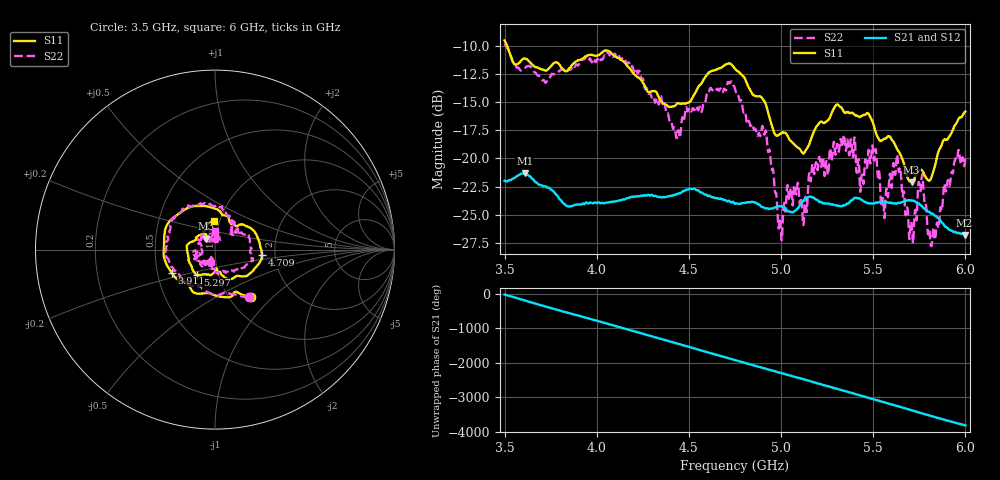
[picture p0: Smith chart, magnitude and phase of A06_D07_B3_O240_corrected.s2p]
! Created with skrf 1.9.0 (http://scikit-rf.org).
# Hz S RI R 50.0
!freq ReS11 ImS11 ReS21 ImS21 ReS12 ImS12 ReS22 ImS22
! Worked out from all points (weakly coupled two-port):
!   1601 points, 3.5 GHz to 6 GHz, reference 50 ohm
!   highest |S21| = -21.30 dB at 3.609 GHz (marker M1); lowest = -26.8 dB at 5.995 GHz (marker M2)
!   lowest |S11| = -22.1 dB at 5.708 GHz (marker M3), VSWR 1.17, Z = 44.9 + j5.49 ohm
!   |S11| at or under -10 dB: 3.513 GHz to end of sweep
!   |S22| runs from -27.8 to -9.8 dB; largest |S21 - S12| = 0.0011
!   S11 on the Smith chart (normalised r, x): 3.5 GHz: 1.26, -0.75; 3.911 GHz: 0.60, -0.17; 4.709 GHz: 1.70, -0.12; 5.297 GHz: 0.79, -0.23; 6 GHz: 0.94, +0.31
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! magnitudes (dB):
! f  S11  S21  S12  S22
! 3.5 GHz  -9.6  -22.0  -22.0  -9.8
! 3.609 GHz  -11.1  -21.3  -21.3  -12.0
! 3.911 GHz  -11.3  -24.1  -24.1  -11.6
! 3.917 GHz  -11.2  -24.1  -24.0  -11.4
! 4.334 GHz  -14.5  -23.4  -23.4  -15.1
! 4.442 GHz  -15.1  -23.1  -23.1  -17.5
! 4.709 GHz  -11.6  -23.8  -23.7  -13.4
! 4.75 GHz  -12.0  -24.0  -24.0  -13.8
! 4.911 GHz  -15.0  -24.4  -24.3  -17.8
! 4.995 GHz  -17.8  -24.2  -24.2  -25.4
! 5.044 GHz  -18.3  -24.7  -24.7  -23.7
! 5.128 GHz  -19.4  -23.6  -23.6  -24.0
! 5.167 GHz  -18.1  -23.4  -23.4  -20.9
! 5.297 GHz  -15.3  -24.1  -24.1  -19.6
! 5.553 GHz  -18.3  -23.9  -23.8  -23.5
! 5.584 GHz  -18.0  -23.9  -23.9  -22.4
! 5.638 GHz  -19.4  -23.9  -23.9  -21.1
! 5.708 GHz  -22.1  -23.7  -23.7  -25.7
! 5.756 GHz  -21.0  -24.2  -24.1  -22.9
! 5.823 GHz  -21.3  -24.9  -24.9  -26.5
! 5.995 GHz  -15.9  -26.8  -26.7  -20.6
! 6 GHz  -15.8  -26.7  -26.7  -19.8
